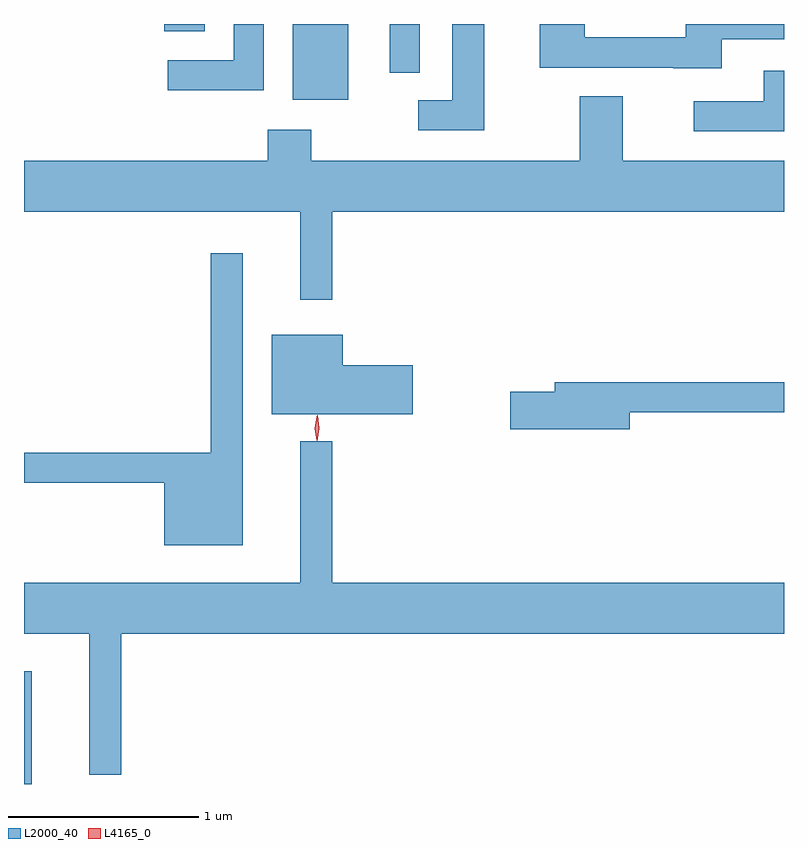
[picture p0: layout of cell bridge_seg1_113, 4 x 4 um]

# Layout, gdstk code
import gdstk
lib = gdstk.Library(unit=1e-6, precision=1e-09)
def R(c, l, rs):  # rectangles x0, y0, x1, y1
    for r in rs: c.add(gdstk.rectangle(r[:2], r[2:], *l))
def P(c, l, *ps):  # polygons
    for p in ps: c.add(gdstk.Polygon(p, *l))
L2000_40 = (2000, 40)
L4165_0 = (4165, 0)

bridge_seg1_113 = lib.new_cell('bridge_seg1_113')
R(bridge_seg1_113, L2000_40, [(1428.527,918.765,1428.569,919.359), (1429.941,922.366,1430.234,922.765), (1430.451,922.508,1430.609,922.765), (1429.266,922.726,1429.479,922.765)])
P(bridge_seg1_113, L2000_40, [(1430.949,922.765),(1430.781,922.765),(1430.781,922.364),(1430.603,922.364),(1430.603,922.206),(1430.949,922.206)],
  [(1432.199,922.686),(1432.527,922.686),(1432.527,922.765),(1432.011,922.765),(1432.011,922.694),(1431.479,922.694),(1431.479,922.765),(1431.241,922.765),(1431.241,922.536),(1431.945,922.536),(1431.945,922.531),(1432.199,922.531)],
  [(1429.789,922.765),(1429.631,922.765),(1429.631,922.574),(1429.283,922.574),(1429.283,922.416),(1429.789,922.416)],
  [(1432.527,922.519),(1432.421,922.519),(1432.421,922.359),(1432.053,922.359),(1432.053,922.201),(1432.527,922.201)],
  [(1430.149,921.776),(1432.527,921.776),(1432.527,922.044),(1431.679,922.044),(1431.679,922.384),(1431.451,922.384),(1431.451,922.044),(1430.039,922.044),(1430.039,922.209),(1429.811,922.209),(1429.811,922.044),(1428.527,922.044),(1428.527,921.776),(1429.981,921.776),(1429.981,921.313),(1430.149,921.313)],
  [(1429.679,921.558),(1429.511,921.558),(1429.511,920.509),(1428.527,920.509),(1428.527,920.351),(1429.266,920.351),(1429.266,920.021),(1429.679,920.021)],
  [(1430.574,920.969),(1430.204,920.969),(1430.204,921.129),(1429.831,921.129),(1429.831,920.711),(1430.574,920.711)],
  [(1431.714,920.721),(1432.527,920.721),(1432.527,920.879),(1431.321,920.879),(1431.321,920.829),(1431.086,920.829),(1431.086,920.631),(1431.714,920.631)],
  [(1429.039,919.556),(1432.527,919.556),(1432.527,919.824),(1430.149,919.824),(1430.149,920.568),(1429.981,920.568),(1429.981,919.824),(1428.527,919.824),(1428.527,919.556),(1428.871,919.556),(1428.871,918.813),(1429.039,918.813)])
P(bridge_seg1_113, L4165_0, [(1430.07,920.57),(1430.07,920.57),(1430.061,920.638),(1430.071,920.705),(1430.072,920.706),(1430.072,920.705),(1430.081,920.638),(1430.071,920.57)],
  [(1430.067,920.573),(1430.058,920.636),(1430.067,920.7),(1430.068,920.7),(1430.068,920.7),(1430.078,920.636),(1430.068,920.573),(1430.068,920.573)])

lib.write_gds('bridge_seg1_113.gds')
